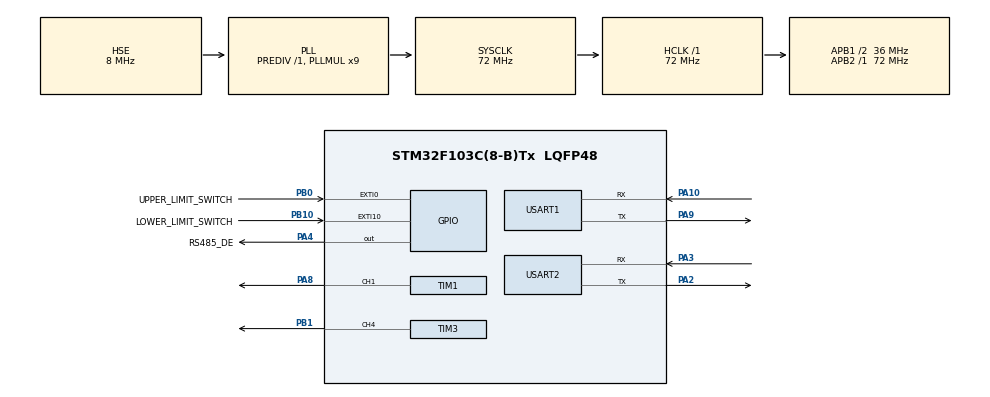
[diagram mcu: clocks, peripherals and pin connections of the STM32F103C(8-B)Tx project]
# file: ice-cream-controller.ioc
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Mcu.Family=STM32F1
Mcu.Name=STM32F103C(8-B)Tx
Mcu.Package=LQFP48
NVIC.PriorityGroup=NVIC_PRIORITYGROUP_4
NVIC.EXTI0_IRQn=true\:1\:0\:false\:false\:true\:true\:true\:true
NVIC.EXTI15_10_IRQn=true\:1\:0\:false\:false\:true\:true\:true\:true
NVIC.USART1_IRQn=true\:0\:0\:false\:false\:true\:true\:true\:true
PA10.Mode=Asynchronous
PA10.Signal=USART1_RX
PA13.Mode=Serial_Wire
PA13.Signal=SYS_JTMS-SWDIO
PA14.Mode=Serial_Wire
PA14.Signal=SYS_JTCK-SWCLK
PA2.Mode=Asynchronous
PA2.Signal=USART2_TX
PA3.Mode=Asynchronous
PA3.Signal=USART2_RX
PA4.GPIO_Label=RS485_DE
PA4.Signal=GPIO_Output
PA8.Signal=S_TIM1_CH1
PA9.Mode=Asynchronous
PA9.Signal=USART1_TX
PB1.Signal=S_TIM3_CH4
PB0.GPIO_Label=UPPER_LIMIT_SWITCH
PB0.GPIO_ModeDefaultEXTI=GPIO_MODE_IT_RISING_FALLING
PB0.GPIO_PuPd=GPIO_PULLUP
PB0.Signal=GPIO_EXTI0
PB10.GPIO_Label=LOWER_LIMIT_SWITCH
PB10.GPIO_ModeDefaultEXTI=GPIO_MODE_IT_RISING_FALLING
PB10.GPIO_PuPd=GPIO_PULLUP
PB10.Signal=GPIO_EXTI10
PD0-OSC_IN.Mode=HSE-External-Oscillator
PD0-OSC_IN.Signal=RCC_OSC_IN
PD1-OSC_OUT.Mode=HSE-External-Oscillator
PD1-OSC_OUT.Signal=RCC_OSC_OUT
ProjectManager.HeapSize=0x200
ProjectManager.StackSize=0x400
ProjectManager.TargetToolchain=CMake
RCC.AHBFreq_Value=72000000
RCC.APB1CLKDivider=RCC_HCLK_DIV2
RCC.APB1Freq_Value=36000000
RCC.APB1TimFreq_Value=72000000
RCC.APB2Freq_Value=72000000
RCC.APB2TimFreq_Value=72000000
RCC.HCLKFreq_Value=72000000
RCC.PLLMUL=RCC_PLL_MUL9
RCC.PLLSourceVirtual=RCC_PLLSOURCE_HSE
RCC.SYSCLKFreq_VALUE=72000000
RCC.SYSCLKSource=RCC_SYSCLKSOURCE_PLLCLK
RCC.USBFreq_Value=72000000
SH.S_TIM1_CH1.0=TIM1_CH1,PWM Generation1 CH1
SH.S_TIM3_CH4.0=TIM3_CH4,PWM Generation4 CH4
SYS.Debug=Serial_Wire
TIM1.Channel-PWM\ Generation1\ CH1=TIM_CHANNEL_1
TIM1.Period=999
TIM1.Prescaler=71
TIM3.Channel-PWM\ Generation4\ CH4=TIM_CHANNEL_4
TIM3.Period=999
TIM3.Prescaler=71
USART1.VirtualMode=VM_ASYNC
USART2.VirtualMode=VM_ASYNC
VP_TIM1_VS_ClockSourceINT.Mode=Internal
VP_TIM3_VS_ClockSourceINT.Mode=Internal
board=custom

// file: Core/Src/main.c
/* USER CODE BEGIN Header */
/**
  ******************************************************************************
  * @file           : main.c
  * @brief          : Main program body
  ******************************************************************************
  * @attention
  *
  * Copyright (c) 2026 STMicroelectronics.
  * All rights reserved.
  *
  * This software is licensed under terms that can be found in the LICENSE file
  * in the root directory of this software component.
  * If no LICENSE file comes with this software, it is provided AS-IS.
  *
  ******************************************************************************
  */
/* USER CODE END Header */
#include "main.h"

/* USER CODE BEGIN Includes */
#include <string.h>
/* USER CODE END Includes */

TIM_HandleTypeDef htim1;
TIM_HandleTypeDef htim3;

UART_HandleTypeDef huart1;
UART_HandleTypeDef huart2;

/* USER CODE BEGIN PV */
// Ice Cream Machine (Custom STM32 Controller) Serial Communication Protocol V0.2
// See context/protocols/Ice Cream Machine Serial Communication Protocol.md
#define RX_BUF_SIZE 16
static uint8_t rxBuf[RX_BUF_SIZE];
static volatile uint8_t rxIndex = 0;
static volatile uint8_t rxExpectedLen = 0;
static volatile uint8_t rxFrameReady = 0;

// Flip to 1 if a multimeter test shows the opto stage between STM32 and BTS7960 inverts
// the signal (see protocol doc, section VIII).
#define OPTO_PWM_INVERTED 0
#define PWM_PERIOD 999   // matches TIM1/TIM3 ARR = 999 (1 kHz @ 72MHz/72 prescaler)

typedef enum { MOTOR_STOP_STATE = 0, MOTOR_UP, MOTOR_DOWN } MotorDir;

typedef enum
{
    MOTOR_STOP_CAUSE_BOOT = 1,
    MOTOR_STOP_CAUSE_COMMAND = 2,
    MOTOR_STOP_CAUSE_UPPER_LIMIT = 3,
    MOTOR_STOP_CAUSE_LOWER_LIMIT = 4,
    MOTOR_STOP_CAUSE_DEADLINE = 5
} MotorStopCause;

typedef struct
{
    uint32_t sequence;
    uint32_t timestampMs;
    uint8_t direction;
    uint8_t cause;
    uint16_t gpioSnapshot;
} IceBotDiagStopEvent;

#define ICEBOT_DIAG_STOP_EVENT_CAPACITY 8U

/* Public, volatile symbols are intentionally kept for Release/ST-Link inspection. */
volatile uint32_t icebot_diag_boot_reset_flags_raw __attribute__((used));
volatile uint32_t icebot_diag_boot_reset_flags_after_clear __attribute__((used));
volatile uint32_t icebot_diag_uptime_ms __attribute__((used));
volatile uint32_t icebot_diag_upper_active_event_count __attribute__((used));
volatile uint32_t icebot_diag_lower_active_event_count __attribute__((used));
volatile uint32_t icebot_diag_upper_last_active_event_ms __attribute__((used));
volatile uint32_t icebot_diag_lower_last_active_event_ms __attribute__((used));
volatile uint16_t icebot_diag_upper_last_active_event_gpio __attribute__((used));
volatile uint16_t icebot_diag_lower_last_active_event_gpio __attribute__((used));
volatile uint32_t icebot_diag_stop_event_count __attribute__((used));
volatile IceBotDiagStopEvent icebot_diag_stop_events[ICEBOT_DIAG_STOP_EVENT_CAPACITY] __attribute__((used));

static volatile MotorDir currentDir = MOTOR_STOP_STATE;
static volatile uint32_t stopDeadline = 0;
static volatile uint8_t hasDeadline = 0;
static volatile uint8_t upperLimitActive = 0;
static volatile uint8_t lowerLimitActive = 0;
/* USER CODE END PV */

void SystemClock_Config(void);
static void MX_GPIO_Init(void);
static void MX_TIM1_Init(void);
static void MX_TIM3_Init(void);
static void MX_USART1_UART_Init(void);
static void MX_USART2_UART_Init(void);
/* USER CODE BEGIN PFP */
static uint8_t ComputeChecksum(const uint8_t *frame, uint8_t countExcludingChecksumAndEnd);
static uint8_t BuildReply(uint8_t *out, uint8_t commandCode, uint8_t instructionCode,
                          const uint8_t *data, uint8_t dataLen);
static void SendFrame(const uint8_t *frame, uint8_t len);
static void ProcessFrame(const uint8_t *frame, uint8_t len);
static void Protocol_Poll(void);
static void Motor_SetPwm(TIM_HandleTypeDef *htim, uint32_t channel, uint8_t dutyPercent);
static uint8_t Motor_Stop(MotorStopCause cause);
static void Diagnostics_CaptureBootResetCause(void);
static uint16_t Diagnostics_ReadGpioSnapshot(void);
static uint16_t Diagnostics_MakeGpioSnapshot(uint8_t upperHigh, uint8_t lowerHigh);
static void Diagnostics_RecordStop(MotorStopCause cause, MotorDir direction, uint16_t gpioSnapshot);
static void Diagnostics_RecordLimitActive(uint16_t gpioPin, uint8_t upperActive, uint8_t lowerActive);
static uint8_t Motor_RunUp(uint8_t speedPercent, uint8_t durationTenths);
static uint8_t Motor_RunDown(uint8_t speedPercent, uint8_t durationTenths);
static void Motor_Poll(void);
static uint8_t UpperLimit_IsActive(void);
static uint8_t LowerLimit_IsActive(void);
/* USER CODE END PFP */

int main(void)
{

  /* MCU Configuration--------------------------------------------------------*/

  /* Capture sticky reset flags before HAL/system-clock code can alter them. */
  Diagnostics_CaptureBootResetCause();

  /* Reset of all peripherals, Initializes the Flash interface and the Systick. */
  HAL_Init();

  /* Configure the system clock */
  SystemClock_Config();

  /* Initialize all configured peripherals */
  MX_GPIO_Init();
  MX_TIM1_Init();
  MX_TIM3_Init();
  MX_USART1_UART_Init();
  MX_USART2_UART_Init();
  /* USER CODE BEGIN 2 */
  HAL_TIM_PWM_Start(&htim1, TIM_CHANNEL_1);
  HAL_TIM_PWM_Start(&htim3, TIM_CHANNEL_4);
  Motor_Stop(MOTOR_STOP_CAUSE_BOOT);
  upperLimitActive = UpperLimit_IsActive();
  lowerLimitActive = LowerLimit_IsActive();
  HAL_UART_Receive_IT(&huart1, &rxBuf[0], 1);
  /* USER CODE END 2 */

  /* Infinite loop */
  /* USER CODE BEGIN WHILE */
  while (1)
  {
    icebot_diag_uptime_ms = HAL_GetTick();
    Protocol_Poll();
    Motor_Poll();
    /* USER CODE END WHILE */

  }
}

void SystemClock_Config(void)
{
  RCC_OscInitTypeDef RCC_OscInitStruct = {0};
  RCC_ClkInitTypeDef RCC_ClkInitStruct = {0};

  /** Initializes the RCC Oscillators according to the specified parameters
  * in the RCC_OscInitTypeDef structure.
  */
  RCC_OscInitStruct.OscillatorType = RCC_OSCILLATORTYPE_HSE;
  RCC_OscInitStruct.HSEState = RCC_HSE_ON;
  RCC_OscInitStruct.HSEPredivValue = RCC_HSE_PREDIV_DIV1;
  RCC_OscInitStruct.HSIState = RCC_HSI_ON;
  RCC_OscInitStruct.PLL.PLLState = RCC_PLL_ON;
  RCC_OscInitStruct.PLL.PLLSource = RCC_PLLSOURCE_HSE;
  RCC_OscInitStruct.PLL.PLLMUL = RCC_PLL_MUL9;
  if (HAL_RCC_OscConfig(&RCC_OscInitStruct) != HAL_OK)
  {
    Error_Handler();
  }

  /** Initializes the CPU, AHB and APB buses clocks
  */
  RCC_ClkInitStruct.ClockType = RCC_CLOCKTYPE_HCLK|RCC_CLOCKTYPE_SYSCLK
                              |RCC_CLOCKTYPE_PCLK1|RCC_CLOCKTYPE_PCLK2;
  RCC_ClkInitStruct.SYSCLKSource = RCC_SYSCLKSOURCE_PLLCLK;
  RCC_ClkInitStruct.AHBCLKDivider = RCC_SYSCLK_DIV1;
  RCC_ClkInitStruct.APB1CLKDivider = RCC_HCLK_DIV2;
  RCC_ClkInitStruct.APB2CLKDivider = RCC_HCLK_DIV1;

  if (HAL_RCC_ClockConfig(&RCC_ClkInitStruct, FLASH_LATENCY_2) != HAL_OK)
  {
    Error_Handler();
  }
}

static void MX_TIM1_Init(void)
{

  TIM_ClockConfigTypeDef sClockSourceConfig = {0};
  TIM_MasterConfigTypeDef sMasterConfig = {0};
  TIM_OC_InitTypeDef sConfigOC = {0};
  TIM_BreakDeadTimeConfigTypeDef sBreakDeadTimeConfig = {0};

  htim1.Instance = TIM1;
  htim1.Init.Prescaler = 71;
  htim1.Init.CounterMode = TIM_COUNTERMODE_UP;
  htim1.Init.Period = 999;
  htim1.Init.ClockDivision = TIM_CLOCKDIVISION_DIV1;
  htim1.Init.RepetitionCounter = 0;
  htim1.Init.AutoReloadPreload = TIM_AUTORELOAD_PRELOAD_DISABLE;
  if (HAL_TIM_Base_Init(&htim1) != HAL_OK)
  {
    Error_Handler();
  }
  sClockSourceConfig.ClockSource = TIM_CLOCKSOURCE_INTERNAL;
  if (HAL_TIM_ConfigClockSource(&htim1, &sClockSourceConfig) != HAL_OK)
  {
    Error_Handler();
  }
  if (HAL_TIM_PWM_Init(&htim1) != HAL_OK)
  {
    Error_Handler();
  }
  sMasterConfig.MasterOutputTrigger = TIM_TRGO_RESET;
  sMasterConfig.MasterSlaveMode = TIM_MASTERSLAVEMODE_DISABLE;
  if (HAL_TIMEx_MasterConfigSynchronization(&htim1, &sMasterConfig) != HAL_OK)
  {
    Error_Handler();
  }
  sConfigOC.OCMode = TIM_OCMODE_PWM1;
  sConfigOC.Pulse = 0;
  sConfigOC.OCPolarity = TIM_OCPOLARITY_HIGH;
  sConfigOC.OCNPolarity = TIM_OCNPOLARITY_HIGH;
  sConfigOC.OCFastMode = TIM_OCFAST_DISABLE;
  sConfigOC.OCIdleState = TIM_OCIDLESTATE_RESET;
  sConfigOC.OCNIdleState = TIM_OCNIDLESTATE_RESET;
  if (HAL_TIM_PWM_ConfigChannel(&htim1, &sConfigOC, TIM_CHANNEL_1) != HAL_OK)
  {
    Error_Handler();
  }
  sBreakDeadTimeConfig.OffStateRunMode = TIM_OSSR_DISABLE;
  sBreakDeadTimeConfig.OffStateIDLEMode = TIM_OSSI_DISABLE;
  sBreakDeadTimeConfig.LockLevel = TIM_LOCKLEVEL_OFF;
  sBreakDeadTimeConfig.DeadTime = 0;
  sBreakDeadTimeConfig.BreakState = TIM_BREAK_DISABLE;
  sBreakDeadTimeConfig.BreakPolarity = TIM_BREAKPOLARITY_HIGH;
  sBreakDeadTimeConfig.AutomaticOutput = TIM_AUTOMATICOUTPUT_DISABLE;
  if (HAL_TIMEx_ConfigBreakDeadTime(&htim1, &sBreakDeadTimeConfig) != HAL_OK)
  {
    Error_Handler();
  }
  HAL_TIM_MspPostInit(&htim1);

}

static void MX_TIM3_Init(void)
{

  TIM_ClockConfigTypeDef sClockSourceConfig = {0};
  TIM_MasterConfigTypeDef sMasterConfig = {0};
  TIM_OC_InitTypeDef sConfigOC = {0};

  htim3.Instance = TIM3;
  htim3.Init.Prescaler = 71;
  htim3.Init.CounterMode = TIM_COUNTERMODE_UP;
  htim3.Init.Period = 999;
  htim3.Init.ClockDivision = TIM_CLOCKDIVISION_DIV1;
  htim3.Init.AutoReloadPreload = TIM_AUTORELOAD_PRELOAD_DISABLE;
  if (HAL_TIM_Base_Init(&htim3) != HAL_OK)
  {
    Error_Handler();
  }
  sClockSourceConfig.ClockSource = TIM_CLOCKSOURCE_INTERNAL;
  if (HAL_TIM_ConfigClockSource(&htim3, &sClockSourceConfig) != HAL_OK)
  {
    Error_Handler();
  }
  if (HAL_TIM_PWM_Init(&htim3) != HAL_OK)
  {
    Error_Handler();
  }
  sMasterConfig.MasterOutputTrigger = TIM_TRGO_RESET;
  sMasterConfig.MasterSlaveMode = TIM_MASTERSLAVEMODE_DISABLE;
  if (HAL_TIMEx_MasterConfigSynchronization(&htim3, &sMasterConfig) != HAL_OK)
  {
    Error_Handler();
  }
  sConfigOC.OCMode = TIM_OCMODE_PWM1;
  sConfigOC.Pulse = 0;
  sConfigOC.OCPolarity = TIM_OCPOLARITY_HIGH;
  sConfigOC.OCFastMode = TIM_OCFAST_DISABLE;
  if (HAL_TIM_PWM_ConfigChannel(&htim3, &sConfigOC, TIM_CHANNEL_4) != HAL_OK)
  {
    Error_Handler();
  }
  HAL_TIM_MspPostInit(&htim3);

}

static void MX_USART1_UART_Init(void)
{

  huart1.Instance = USART1;
  huart1.Init.BaudRate = 115200;
  huart1.Init.WordLength = UART_WORDLENGTH_8B;
  huart1.Init.StopBits = UART_STOPBITS_1;
  huart1.Init.Parity = UART_PARITY_NONE;
  huart1.Init.Mode = UART_MODE_TX_RX;
  huart1.Init.HwFlowCtl = UART_HWCONTROL_NONE;
  huart1.Init.OverSampling = UART_OVERSAMPLING_16;
  if (HAL_UART_Init(&huart1) != HAL_OK)
  {
    Error_Handler();
  }

}

static void MX_USART2_UART_Init(void)
{

  huart2.Instance = USART2;
  huart2.Init.BaudRate = 115200;
  huart2.Init.WordLength = UART_WORDLENGTH_8B;
  huart2.Init.StopBits = UART_STOPBITS_1;
  huart2.Init.Parity = UART_PARITY_NONE;
  huart2.Init.Mode = UART_MODE_TX_RX;
  huart2.Init.HwFlowCtl = UART_HWCONTROL_NONE;
  huart2.Init.OverSampling = UART_OVERSAMPLING_16;
  if (HAL_UART_Init(&huart2) != HAL_OK)
  {
    Error_Handler();
  }

}

static void MX_GPIO_Init(void)
{
  GPIO_InitTypeDef GPIO_InitStruct = {0};

  /* GPIO Ports Clock Enable */
  __HAL_RCC_GPIOD_CLK_ENABLE();
  __HAL_RCC_GPIOA_CLK_ENABLE();
  __HAL_RCC_GPIOB_CLK_ENABLE();

  /*Configure GPIO pin Output Level */
  HAL_GPIO_WritePin(RS485_DE_GPIO_Port, RS485_DE_Pin, GPIO_PIN_RESET);

  /*Configure GPIO pin : RS485_DE_Pin */
  GPIO_InitStruct.Pin = RS485_DE_Pin;
  GPIO_InitStruct.Mode = GPIO_MODE_OUTPUT_PP;
  GPIO_InitStruct.Pull = GPIO_NOPULL;
  GPIO_InitStruct.Speed = GPIO_SPEED_FREQ_LOW;
  HAL_GPIO_Init(RS485_DE_GPIO_Port, &GPIO_InitStruct);

  /* Configure upper limit switch: NO to GND, external pull-up to 3.3 V. */
  GPIO_InitStruct.Pin = UPPER_LIMIT_SWITCH_Pin;
  GPIO_InitStruct.Mode = GPIO_MODE_IT_RISING_FALLING;
  GPIO_InitStruct.Pull = GPIO_PULLUP;
  GPIO_InitStruct.Speed = GPIO_SPEED_FREQ_LOW;
  HAL_GPIO_Init(UPPER_LIMIT_SWITCH_GPIO_Port, &GPIO_InitStruct);
  HAL_NVIC_SetPriority(EXTI0_IRQn, 1, 0);
  HAL_NVIC_EnableIRQ(EXTI0_IRQn);
  /* Configure lower limit switch: NO to GND, external pull-up to 3.3 V. */
  GPIO_InitStruct.Pin = LOWER_LIMIT_SWITCH_Pin;
  GPIO_InitStruct.Mode = GPIO_MODE_IT_RISING_FALLING;
  GPIO_InitStruct.Pull = GPIO_PULLUP;
  GPIO_InitStruct.Speed = GPIO_SPEED_FREQ_LOW;
  HAL_GPIO_Init(LOWER_LIMIT_SWITCH_GPIO_Port, &GPIO_InitStruct);
  HAL_NVIC_SetPriority(EXTI15_10_IRQn, 1, 0);
  HAL_NVIC_EnableIRQ(EXTI15_10_IRQn);
}

/* USER CODE BEGIN 4 */
static uint8_t ComputeChecksum(const uint8_t *frame, uint8_t countExcludingChecksumAndEnd)
{
    uint16_t sum = 0;
    for (uint8_t i = 0; i < countExcludingChecksumAndEnd; i++)
    {
        sum += frame[i];
    }
    return (uint8_t)(sum & 0xFF);
}

static uint8_t BuildReply(uint8_t *out, uint8_t commandCode, uint8_t instructionCode,
                          const uint8_t *data, uint8_t dataLen)
{
    uint8_t length = (uint8_t)(5 + dataLen);
    out[0] = commandCode;
    out[1] = length;
    out[2] = instructionCode;
    for (uint8_t i = 0; i < dataLen; i++)
    {
        out[3 + i] = data[i];
    }
    out[length - 2] = ComputeChecksum(out, length - 2);
    out[length - 1] = 0xFF;
    return length;
}

static void SendFrame(const uint8_t *frame, uint8_t len)
{
    HAL_GPIO_WritePin(RS485_DE_GPIO_Port, RS485_DE_Pin, GPIO_PIN_SET);   // transmit mode
    HAL_UART_Transmit(&huart1, (uint8_t *)frame, len, 100);
    HAL_GPIO_WritePin(RS485_DE_GPIO_Port, RS485_DE_Pin, GPIO_PIN_RESET); // back to receive mode
}

static void Motor_SetPwm(TIM_HandleTypeDef *htim, uint32_t channel, uint8_t dutyPercent)
{
    if (dutyPercent > 100)
    {
        dutyPercent = 100;
    }
    uint32_t compare = ((uint32_t)dutyPercent * PWM_PERIOD) / 100;
#if OPTO_PWM_INVERTED
    compare = PWM_PERIOD - compare;
#endif
    __HAL_TIM_SET_COMPARE(htim, channel, compare);
}

static void Diagnostics_CaptureBootResetCause(void)
{
    icebot_diag_boot_reset_flags_raw = RCC->CSR;
    RCC->CSR |= RCC_CSR_RMVF;
    icebot_diag_boot_reset_flags_after_clear = RCC->CSR;
}

static uint16_t Diagnostics_MakeGpioSnapshot(uint8_t upperHigh, uint8_t lowerHigh)
{
    uint16_t snapshot = 0;
    if (upperHigh)
    {
        snapshot |= 0x0001U;
    }
    if (lowerHigh)
    {
        snapshot |= 0x0002U;
    }
    return snapshot;
}

static uint16_t Diagnostics_ReadGpioSnapshot(void)
{
    return Diagnostics_MakeGpioSnapshot(
        HAL_GPIO_ReadPin(UPPER_LIMIT_SWITCH_GPIO_Port, UPPER_LIMIT_SWITCH_Pin) == GPIO_PIN_SET,
        HAL_GPIO_ReadPin(LOWER_LIMIT_SWITCH_GPIO_Port, LOWER_LIMIT_SWITCH_Pin) == GPIO_PIN_SET);
}

static void Diagnostics_RecordStop(MotorStopCause cause, MotorDir direction, uint16_t gpioSnapshot)
{
    uint32_t sequence;
    uint32_t slot;
    volatile IceBotDiagStopEvent *event;

    /* Caller holds the stop critical section across PWM-off, state update, and this record. */
    sequence = icebot_diag_stop_event_count++;
    slot = sequence % ICEBOT_DIAG_STOP_EVENT_CAPACITY;
    event = &icebot_diag_stop_events[slot];
    event->sequence = 0;
    event->timestampMs = HAL_GetTick();
    event->direction = (uint8_t)direction;
    event->cause = (uint8_t)cause;
    event->gpioSnapshot = gpioSnapshot;
    event->sequence = sequence + 1U;
    icebot_diag_uptime_ms = event->timestampMs;
}

static void Diagnostics_RecordLimitActive(uint16_t gpioPin, uint8_t upperActive, uint8_t lowerActive)
{
    uint32_t now = HAL_GetTick();
    uint16_t snapshot = Diagnostics_MakeGpioSnapshot(!upperActive, !lowerActive);

    if (gpioPin == UPPER_LIMIT_SWITCH_Pin && upperActive)
    {
        icebot_diag_upper_active_event_count++;
        icebot_diag_upper_last_active_event_ms = now;
        icebot_diag_upper_last_active_event_gpio = snapshot;
    }
    else if (gpioPin == LOWER_LIMIT_SWITCH_Pin && lowerActive)
    {
        icebot_diag_lower_active_event_count++;
        icebot_diag_lower_last_active_event_ms = now;
        icebot_diag_lower_last_active_event_gpio = snapshot;
    }
}

// R_EN/L_EN is hardwired to 5V (always enabled, not STM32-controlled) — stopping the motor
// means forcing both PWM duties to 0, there is no separate hardware disable line.
static uint8_t Motor_Stop(MotorStopCause cause)
{
    uint32_t primask = __get_PRIMASK();
    MotorDir direction;
    uint16_t gpioSnapshot;

    __disable_irq();
    direction = currentDir;
    Motor_SetPwm(&htim1, TIM_CHANNEL_1, 0);
    Motor_SetPwm(&htim3, TIM_CHANNEL_4, 0);
    currentDir = MOTOR_STOP_STATE;
    hasDeadline = 0;
    gpioSnapshot = Diagnostics_ReadGpioSnapshot();
    Diagnostics_RecordStop(cause, direction, gpioSnapshot);
    if (primask == 0U)
    {
        __enable_irq();
    }
    return 1;
}

// speedPercent 0 = use MCU default (20%); durationTenths 0 = run until the matching limit switch.
static uint8_t Motor_RunUp(uint8_t speedPercent, uint8_t durationTenths)
{
    if (currentDir == MOTOR_DOWN)
    {
        return 0; // refuse — caller must Stop first (never drive both directions)
    }
    if (speedPercent == 0)
    {
        speedPercent = 20;
    }
    if (UpperLimit_IsActive())
    {
        Motor_Stop(MOTOR_STOP_CAUSE_UPPER_LIMIT);
        return 0; // physical upper limit is active
    }
    /* PB1/TIM3_CH4 is physical UP; PA8/TIM1_CH1 is physical DOWN. */
    Motor_SetPwm(&htim1, TIM_CHANNEL_1, 0);
    Motor_SetPwm(&htim3, TIM_CHANNEL_4, speedPercent);
    currentDir = MOTOR_UP;
    if (durationTenths > 0)
    {
        stopDeadline = HAL_GetTick() + (uint32_t)durationTenths * 100;
        hasDeadline = 1;
    }
    else
    {
        hasDeadline = 0;
    }
    return 1;
}

static uint8_t Motor_RunDown(uint8_t speedPercent, uint8_t durationTenths)
{
    if (currentDir == MOTOR_UP)
    {
        return 0;
    }
    if (speedPercent == 0)
    {
        speedPercent = 20;
    }
    if (LowerLimit_IsActive())
    {
        Motor_Stop(MOTOR_STOP_CAUSE_LOWER_LIMIT);
        return 0; // physical lower limit is active
    }
    /* PA8/TIM1_CH1 is physical DOWN. */
    Motor_SetPwm(&htim3, TIM_CHANNEL_4, 0);
    Motor_SetPwm(&htim1, TIM_CHANNEL_1, speedPercent);
    currentDir = MOTOR_DOWN;
    if (durationTenths > 0)
    {
        stopDeadline = HAL_GetTick() + (uint32_t)durationTenths * 100;
        hasDeadline = 1;
    }
    else
    {
        hasDeadline = 0;
    }
    return 1;
}

static uint8_t UpperLimit_IsActive(void)
{
    return (HAL_GPIO_ReadPin(UPPER_LIMIT_SWITCH_GPIO_Port, UPPER_LIMIT_SWITCH_Pin) == GPIO_PIN_RESET) ? 1U : 0U;
}

static uint8_t LowerLimit_IsActive(void)
{
    return (HAL_GPIO_ReadPin(LOWER_LIMIT_SWITCH_GPIO_Port, LOWER_LIMIT_SWITCH_Pin) == GPIO_PIN_RESET) ? 1U : 0U;
}

static void Motor_Poll(void)
{
    upperLimitActive = UpperLimit_IsActive();
    lowerLimitActive = LowerLimit_IsActive();
    if (upperLimitActive && currentDir == MOTOR_UP)
    {
        Motor_Stop(MOTOR_STOP_CAUSE_UPPER_LIMIT);
        return;
    }
    if (lowerLimitActive && currentDir == MOTOR_DOWN)
    {
        Motor_Stop(MOTOR_STOP_CAUSE_LOWER_LIMIT);
        return;
    }
    if (hasDeadline && (int32_t)(HAL_GetTick() - stopDeadline) >= 0)
    {
        Motor_Stop(MOTOR_STOP_CAUSE_DEADLINE);
    }
}

static void ProcessFrame(const uint8_t *frame, uint8_t len)
{
    uint8_t expectedChecksum = ComputeChecksum(frame, len - 2);
    if (frame[len - 1] != 0xFF || frame[len - 2] != expectedChecksum)
    {
        return; // corrupted frame — silently drop, host will resend on timeout
    }

    uint8_t commandCode = frame[0];
    uint8_t reply[8];
    uint8_t replyLen;

    switch (commandCode)
    {
        case 0x01: // Status query — lamp-tap sensor not wired yet, always reports "in stock"
        {
            uint8_t status = (currentDir != MOTOR_STOP_STATE) ? 0x08 : 0x00; // bit3 = busy
            uint8_t data[2] = { status, (uint8_t)(currentDir != MOTOR_STOP_STATE ? 0x01 : 0x00) };
            replyLen = BuildReply(reply, 0x01, 0x55, data, 2);
            break;
        }
        case 0x02: // Motor run UP
        {
            uint8_t ok = Motor_RunUp(frame[3], frame[4]);
            uint8_t data[1] = { ok };
            replyLen = BuildReply(reply, 0x02, 0xAA, data, 1);
            break;
        }
        case 0x03: // Motor run DOWN
        {
            uint8_t ok = Motor_RunDown(frame[3], frame[4]);
            uint8_t data[1] = { ok };
            replyLen = BuildReply(reply, 0x03, 0xAA, data, 1);
            break;
        }
        case 0x04: // Motor stop
        {
            uint8_t ok = Motor_Stop(MOTOR_STOP_CAUSE_COMMAND);
            uint8_t data[1] = { ok };
            replyLen = BuildReply(reply, 0x04, 0xAA, data, 1);
            break;
        }
        default:
            return; // unknown command code — ignore
    }

    SendFrame(reply, replyLen);
}

static void Protocol_Poll(void)
{
    if (!rxFrameReady)
    {
        return;
    }

    uint8_t frame[RX_BUF_SIZE];
    uint8_t len = rxBuf[1];
    memcpy(frame, rxBuf, len);
    rxFrameReady = 0;
    HAL_UART_Receive_IT(&huart1, &rxBuf[0], 1); // re-arm for the next frame

    ProcessFrame(frame, len);
}

// Stop the matching direction when either limit input becomes active.
void HAL_GPIO_EXTI_Callback(uint16_t GPIO_Pin)
{
    if (GPIO_Pin == UPPER_LIMIT_SWITCH_Pin || GPIO_Pin == LOWER_LIMIT_SWITCH_Pin)
    {
        uint8_t observedUpperActive = UpperLimit_IsActive();
        uint8_t observedLowerActive = LowerLimit_IsActive();

        upperLimitActive = observedUpperActive;
        lowerLimitActive = observedLowerActive;
        if (currentDir == MOTOR_UP && observedUpperActive)
        {
            Motor_Stop(MOTOR_STOP_CAUSE_UPPER_LIMIT);
        }
        else if (currentDir == MOTOR_DOWN && observedLowerActive)
        {
            Motor_Stop(MOTOR_STOP_CAUSE_LOWER_LIMIT);
        }
        Diagnostics_RecordLimitActive(GPIO_Pin, observedUpperActive, observedLowerActive);
    }
}

void HAL_UART_RxCpltCallback(UART_HandleTypeDef *huart)
{
    if (huart->Instance != USART1)
    {
        return;
    }

    if (rxIndex == 1)
    {
        // just received the Length Code (rxBuf[1])
        rxExpectedLen = rxBuf[1];
        if (rxExpectedLen < 5 || rxExpectedLen > RX_BUF_SIZE)
        {
            rxIndex = 0; // invalid length — resync from the next byte
            HAL_UART_Receive_IT(&huart1, &rxBuf[0], 1);
            return;
        }
    }

    rxIndex++;

    if (rxIndex >= 2 && rxIndex == rxExpectedLen)
    {
        rxFrameReady = 1; // full frame in rxBuf — Protocol_Poll() re-arms reception after reading it
        rxIndex = 0;
        return;
    }

    HAL_UART_Receive_IT(&huart1, &rxBuf[rxIndex], 1);
}

void HAL_UART_ErrorCallback(UART_HandleTypeDef *huart)
{
    if (huart->Instance != USART1)
    {
        return;
    }

    __HAL_UART_CLEAR_OREFLAG(&huart1);
    rxIndex = 0;
    rxExpectedLen = 0;
    rxFrameReady = 0;
    HAL_UART_Receive_IT(&huart1, &rxBuf[0], 1);
}
/* USER CODE END 4 */

void Error_Handler(void)
{
  __disable_irq();
  while (1)
  {
  }
}
